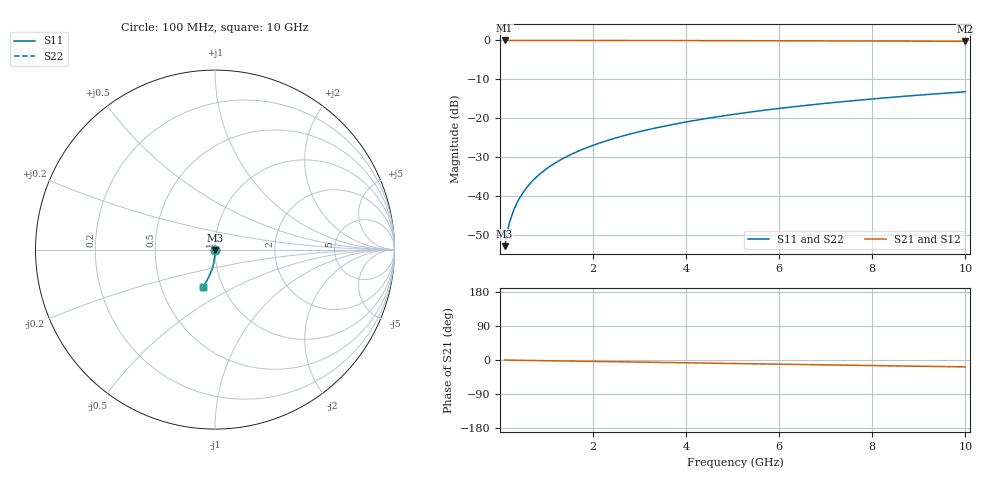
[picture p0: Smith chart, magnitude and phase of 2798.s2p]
# Hz S RI R 50.00
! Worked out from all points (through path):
!   100 points, 100 MHz to 10 GHz, reference 50 ohm
!   highest |S21| = 0.00 dB at 100 MHz (marker M1); lowest = -0.2 dB at 10 GHz (marker M2)
!   group delay of S21, straight-line fit = 5.06 ps
!   lowest |S11| = -52.7 dB at 100 MHz (marker M3), VSWR 1.00, Z = 50 - j0.227 ohm
!   |S11| at or under -10 dB: start of sweep to end of sweep
!   |S22| runs from -52.7 to -13.2 dB; largest |S21 - S12| = 0
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1e8  0.000437 -0.00226  0.9995 -0.00322  0.9995 -0.00322  0.000437 -0.00226
2e8  0.000416 -0.00453  0.9995 -0.00643  0.9995 -0.00643  0.000416 -0.00453
3e8  0.000379 -0.00679  0.9995 -0.00965  0.9995 -0.00965  0.000379 -0.00679
4e8  0.000327 -0.00906  0.9994 -0.0129  0.9994 -0.0129  0.000327 -0.00906
5e8  0.000261 -0.0113  0.9993 -0.0161  0.9993 -0.0161  0.000261 -0.0113
6e8  0.000179 -0.0136  0.9992 -0.0193  0.9992 -0.0193  0.000179 -0.0136
7e8  8.32e-05 -0.0158  0.9991 -0.0225  0.9991 -0.0225  8.32e-05 -0.0158
8e8  -2.75e-05 -0.0181  0.999 -0.0257  0.999 -0.0257  -2.75e-05 -0.0181
9e8  -0.000153 -0.0204  0.9989 -0.0289  0.9989 -0.0289  -0.000153 -0.0204
1.1e9  -0.000447 -0.0249  0.9986 -0.0354  0.9986 -0.0354  -0.000447 -0.0249
1.4e9  -0.000998 -0.0317  0.998 -0.045  0.998 -0.045  -0.000998 -0.0317
1.8e9  -0.00193 -0.0407  0.997 -0.0578  0.997 -0.0578  -0.00193 -0.0407
2.1e9  -0.00279 -0.0474  0.9961 -0.0674  0.9961 -0.0674  -0.00279 -0.0474
2.5e9  -0.00413 -0.0563  0.9946 -0.0802  0.9946 -0.0802  -0.00413 -0.0563
2.9e9  -0.0057 -0.0652  0.993 -0.0929  0.993 -0.0929  -0.0057 -0.0652
3.4e9  -0.00798 -0.0763  0.9905 -0.1087  0.9905 -0.1087  -0.00798 -0.0763
4.2e9  -0.0124 -0.0938  0.9859 -0.1338  0.9859 -0.1338  -0.0124 -0.0938
5.1e9  -0.0183 -0.1131  0.9795 -0.1618  0.9795 -0.1618  -0.0183 -0.1131
5.9e9  -0.0245 -0.1299  0.9729 -0.1862  0.9729 -0.1862  -0.0245 -0.1299
6.7e9  -0.0315 -0.1463  0.9654 -0.2103  0.9654 -0.2103  -0.0315 -0.1463
8.4e9  -0.049 -0.1797  0.9467 -0.26  0.9467 -0.26  -0.049 -0.1797
1e10  -0.0684 -0.2089  0.9259 -0.3046  0.9259 -0.3046  -0.0684 -0.2089
